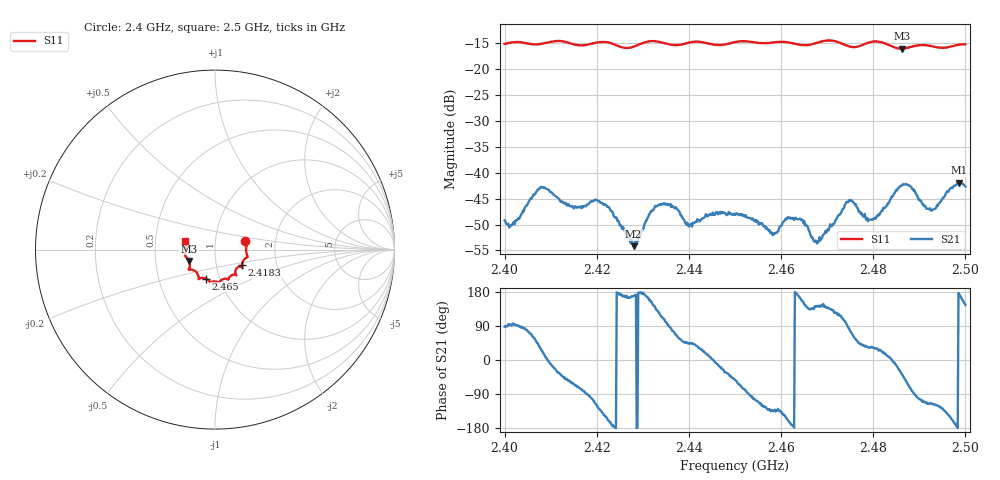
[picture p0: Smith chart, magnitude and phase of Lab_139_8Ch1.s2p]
# Hz S RI R 50
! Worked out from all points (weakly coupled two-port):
!   601 points, 2.4 GHz to 2.5 GHz, reference 50 ohm
!   highest |S21| = -41.90 dB at 2.4987 GHz (marker M1); lowest = -54.2 dB at 2.428 GHz (marker M2)
!   lowest |S11| = -16.1 dB at 2.4862 GHz (marker M3), VSWR 1.37, Z = 37.2 - j4.8 ohm
!   |S11| at or under -10 dB: start of sweep to end of sweep
!   S12 and S22 are empty: the file has one direction only
!   S11 on the Smith chart (normalised r, x): 2.4 GHz: 1.40, +0.14; 2.4183 GHz: 1.33, -0.24; 2.465 GHz: 0.86, -0.28; 2.5 GHz: 0.71, +0.07
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2.4e9  0.1686 0.0469  0.000119 0.00346  0 0  0 0
2.402667e9  0.1788 0.0349  -0.000118 0.00352  0 0  0 0
2.408167e9  0.175 -0.0174  0.00666 0.00285  0 0  0 0
2.416667e9  0.1547 -0.0684  0.00105 -0.00445  0 0  0 0
2.418333e9  0.1502 -0.0871  -0.000391 -0.005  0 0  0 0
2.422333e9  0.1522 -0.0983  -0.00431 -0.00179  0 0  0 0
2.428e9  0.1139 -0.1184  -0.00192 0.000368  0 0  0 0
2.433333e9  0.1175 -0.141  -0.00292 0.00385  0 0  0 0
2.440167e9  0.0757 -0.1639  0.00226 0.00212  0 0  0 0
2.45e9  0.0261 -0.1803  0.00236 -0.00311  0 0  0 0
2.458167e9  -0.0186 -0.1794  -0.00172 -0.00181  0 0  0 0
2.4615e9  -0.0301 -0.1781  -0.0035 -0.00132  0 0  0 0
2.465e9  -0.0524 -0.1615  -0.00295 0.00177  0 0  0 0
2.466667e9  -0.0712 -0.1578  -0.0017 0.00162  0 0  0 0
2.468333e9  -0.0857 -0.1611  -0.0019 0.00144  0 0  0 0
2.474667e9  -0.0982 -0.1338  0.000526 0.0053  0 0  0 0
2.479333e9  -0.1441 -0.1109  0.00299 0.00188  0 0  0 0
2.483333e9  -0.1411 -0.0968  0.00502 0.000766  0 0  0 0
2.486167e9  -0.1439 -0.063  0.00603 -0.00444  0 0  0 0
2.493e9  -0.1639 -0.0201  -0.00202 -0.00394  0 0  0 0
2.498667e9  -0.1673 0.0398  -0.00799 0.000868  0 0  0 0
2.5e9  -0.1668 0.0468  -0.00609 0.00416  0 0  0 0
